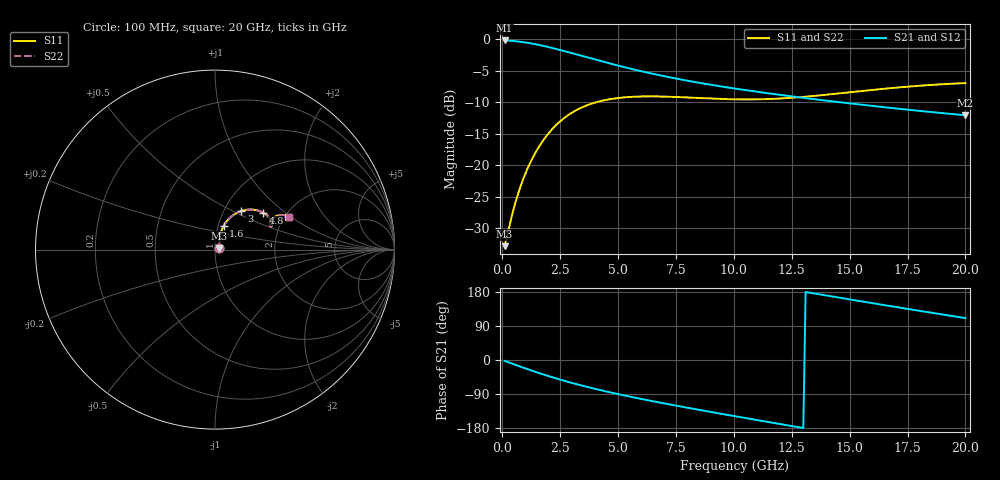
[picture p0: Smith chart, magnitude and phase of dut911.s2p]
! Touchstone file exported from HFSS 2024.1.0
!  File:  C:/UserFiles/LocalFiles/RDL_TSV_Batchsim/temp_RDL_TSV_911_1779955958.aedt
!  Generated:  04:27:40 PM May 28, 2026
!  Design:  RDL_TSV
!  Project:  temp_RDL_TSV_911_1779955958
!  Setup:  Setup1
!  Solution:  Sweep
! Variables:
!  dtsv = 11.09um
!  hbump = 3um
!  htsv = 80.21um
!  ldown = 612.02um
!  lrdl = 432.27um
!  p = 40
!  p1 = 58.6um
!  rhole = 10um
!  subl = 3565.14um
!  t = 450um
!  tdown = 4.67um
!  trdl = 4.93um
!  viad = 10um
!  wdown = 14.17um
!  wrdl = 11.06um
!  xbump = 18um
# GHz S MA R 50.000000
! Terminal data exported
! Port[1] = TM1_1_T1
! Port[2] = TM1_4_T1
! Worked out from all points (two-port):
!   200 points, 100 MHz to 20 GHz, reference 50 ohm
!   highest |S21| = -0.19 dB at 100 MHz (marker M1); lowest = -12.1 dB at 20 GHz (marker M2)
!   |S21| within 3 dB of the highest: start of sweep to 3.979 GHz
!   lowest |S11| = -32.9 dB at 100 MHz (marker M3), VSWR 1.05, Z = 52.2 + j0.849 ohm
!   |S11| at or under -10 dB: start of sweep to 4.067 GHz
!   |S22| runs from -32.9 to -7.0 dB; largest |S21 - S12| = 1.4e-14
!   S11 on the Smith chart (normalised r, x): 100 MHz: 1.04, +0.02; 1.6 GHz: 1.06, +0.29; 3 GHz: 1.21, +0.56; 4.8 GHz: 1.53, +0.71; 20 GHz: 2.09, +0.96
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0.1  0.0227 21.0  0.9785 -2.3  0.9785 -2.3  0.0227 21.0
! Gamma 0 0 0 0
! Port Impedance 50 0 50 0
0.5  0.04557 59.4  0.9683 -11.4  0.9683 -11.4  0.04557 59.4
0.8  0.06881 67.9  0.9545 -18.0  0.9545 -18.0  0.06881 67.9
1.2  0.1039 71.0  0.9301 -26.5  0.9301 -26.5  0.1039 71.0
1.6  0.1415 69.9  0.9003 -34.7  0.9003 -34.7  0.1416 69.9
1.9  0.1699 67.6  0.8752 -40.6  0.8752 -40.6  0.1699 67.7
2.3  0.2061 63.6  0.8398 -48.2  0.8398 -48.2  0.2062 63.6
3  0.2605 55.6  0.7763 -60.4  0.7763 -60.4  0.2607 55.6
3.5  0.2907 50.0  0.7324 -68.5  0.7324 -68.5  0.2909 50.0
4.1  0.3175 43.8  0.6831 -77.6  0.6831 -77.6  0.3177 43.9
4.8  0.3374 37.7  0.6314 -87.4  0.6314 -87.4  0.3377 37.7
5.8  0.3502 30.9  0.5686 -100.3  0.5686 -100.3  0.3506 30.9
6.8  0.3511 26.2  0.5174 -112.3  0.5174 -112.3  0.3516 26.2
7.6  0.3472 23.9  0.4834 -121.5  0.4834 -121.5  0.3477 23.9
8.4  0.3417 22.6  0.4543 -130.5  0.4543 -130.5  0.3423 22.6
10.1  0.333 22.9  0.4044 -148.9  0.4044 -148.9  0.3336 22.9
11.7  0.3361 25.3  0.3677 -165.9  0.3677 -165.9  0.3368 25.3
13.4  0.3537 27.8  0.3355 176.4  0.3355 176.4  0.3543 27.7
15.1  0.3807 28.7  0.308 158.9  0.308 158.9  0.3813 28.7
16.7  0.4077 28.1  0.2857 142.8  0.2857 142.8  0.4083 28.1
18.3  0.431 26.4  0.2665 127.0  0.2665 127.0  0.4315 26.4
20  0.4486 24.1  0.2491 110.5  0.2491 110.5  0.4491 24.1
